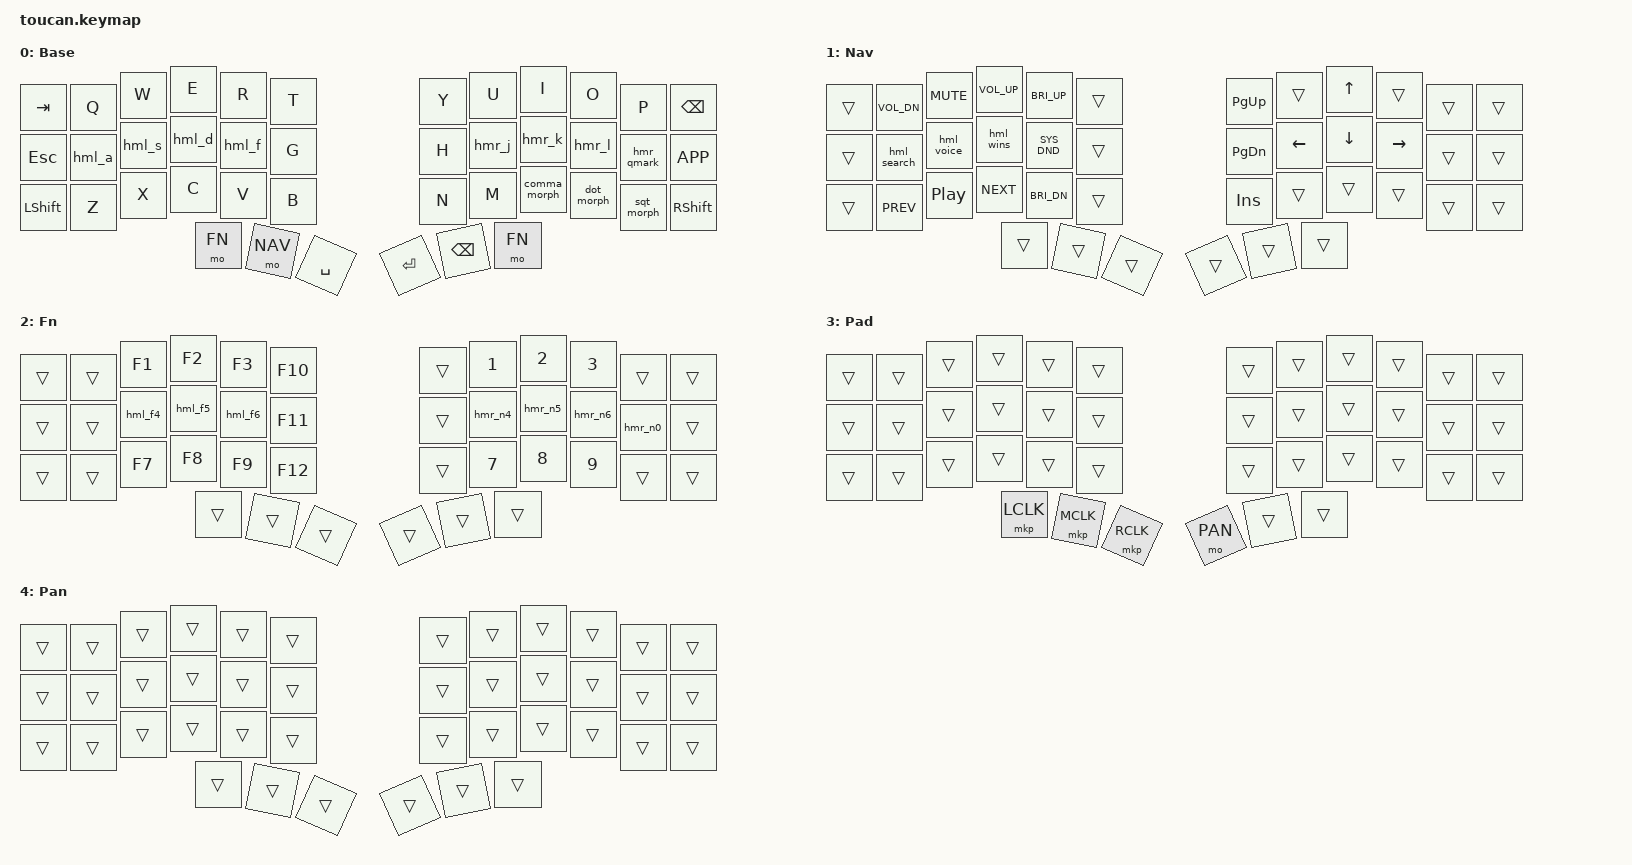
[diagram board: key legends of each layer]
#include <behaviors.dtsi>
#include <behaviors/toucan_text.dtsi>
#include <behaviors/unicode.dtsi>
#include <zmk-helpers/helper.h>
#include <zmk-helpers/key-labels/42.h>
#include <dt-bindings/zmk/keys.h>
#include <dt-bindings/zmk/bt.h>
#include <dt-bindings/zmk/outputs.h>
#include <dt-bindings/zmk/pointing.h>

#include "leader.dtsi"
#include "mouse.dtsi"

#define BASE  0
#define NAV   1
#define FN    2
#define PAD   3
#define PAN   4

#define XXX &none
#define ___ &trans

#define QUICK_TAP_MS 175

/* Key-position groups for hold-trigger-key-positions */
#define KEYS_L LT5 LT4 LT3 LT2 LT1 LT0  LM5 LM4 LM3 LM2 LM1 LM0  LB5 LB4 LB3 LB2 LB1 LB0
#define KEYS_R RT0 RT1 RT2 RT3 RT4 RT5  RM0 RM1 RM2 RM3 RM4 RM5  RB0 RB1 RB2 RB3 RB4 RB5
#define THUMBS LH2 LH1 LH0 RH0 RH1 RH2

/* The modifier keys of each homerow. Whitelisted as hold triggers for their own
   hand so two or more mods still chord together; every *other* same-hand key
   vetoes the hold, so a same-hand key never turns its neighbour into a mod. */
#define MODS_LH LM4 LM3 LM2 LM1
#define MODS_RH RM1 RM2 RM3 RM4

/* Unicode mode */
&uc {
    default-mode = <UC_MODE_MACOS>;
    minimum-length = <4>;
};

/* Timeless homerow mods.

   No hold-trigger-on-release: the positional veto has to run when the next key
   is *pressed*, not when it is released. With the release form, a homerow key
   held past its tapping term resolves to its modifier before any veto can run,
   which is how `hold D, press C` used to produce Cmd+C. Pressing any same-hand
   key that is not itself a homerow mod now forces the tap instead. */
#define MAKE_HRM(NAME, HOLD, TAP, TRIGGER_POS) \
    ZMK_HOLD_TAP(NAME, bindings = <HOLD>, <TAP>; flavor = "balanced"; \
        tapping-term-ms = <280>; quick-tap-ms = <QUICK_TAP_MS>; \
        require-prior-idle-ms = <200>; \
        hold-trigger-key-positions = <TRIGGER_POS>;)

MAKE_HRM(hml, &kp, &kp, KEYS_R THUMBS MODS_LH)  /* left-hand HRMs  */
MAKE_HRM(hmr, &kp, &kp, KEYS_L THUMBS MODS_RH)  /* right-hand HRMs */

// Generate dedicated HRMs for morphs
#define MAKE_HRM_MORPH(NAME, HOLD, MORPH, TRIGGER_POS) \
    ZMK_HOLD_TAP(NAME, bindings = <HOLD>, <MORPH>; flavor = "balanced"; \
        tapping-term-ms = <280>; quick-tap-ms = <QUICK_TAP_MS>; \
        require-prior-idle-ms = <200>; \
        hold-trigger-key-positions = <TRIGGER_POS>;)

MAKE_HRM_MORPH(hmr_comma_morph, &kp, &comma_morph, KEYS_L THUMBS MODS_RH)
MAKE_HRM_MORPH(hmr_dot_morph,   &kp, &dot_morph,   KEYS_L THUMBS MODS_RH)
MAKE_HRM_MORPH(hmr_qmark_morph, &kp, &qmark_morph, KEYS_L THUMBS MODS_RH)
MAKE_HRM_MORPH(hml_comma_morph, &kp, &comma_morph, KEYS_R THUMBS MODS_LH)
MAKE_HRM_MORPH(hml_dot_morph,   &kp, &dot_morph,   KEYS_R THUMBS MODS_LH)
MAKE_HRM_MORPH(hml_qmark_morph, &kp, &qmark_morph, KEYS_R THUMBS MODS_LH)

#define HMR_MORPH(MOD, TAP_BASE) &hmr_##TAP_BASE##_morph MOD 0
#define HML_MORPH(MOD, TAP_BASE) &hml_##TAP_BASE##_morph MOD 0

/* Paren mod-morphs: ( → < when shift held; ) → > when shift held */
#define SIMPLE_MORPH(NAME, MOD, BINDING1, BINDING2) \
    ZMK_MOD_MORPH(NAME, bindings = <BINDING1>, <BINDING2>; \
        mods = <(MOD_L##MOD|MOD_R##MOD)>;)

SIMPLE_MORPH(lpar_lt, SFT, &kp LPAR, &kp LT)
SIMPLE_MORPH(rpar_gt, SFT, &kp RPAR, &kp GT)

// Tap: comma | Shift + tap: semicolon
SIMPLE_MORPH(comma_morph, SFT, &kp COMMA, &kp SEMI)

// Tap: dot | Shift + tap: colon
SIMPLE_MORPH(dot_morph, SFT, &kp DOT, &kp COLON)

// Tap: single quote | Shift + tap: double quote
SIMPLE_MORPH(sqt_morph, SFT, &kp SQT, &kp DQT)

// Tap: qmark | Shift + tap: excl.
SIMPLE_MORPH(qmark_morph, SFT, &kp QMARK, &kp EXCL)

/* ── Order-sensitive homerow mods ────────────────────────────────────────────
   Modifiers pressed first define the chord; homerow keys pressed *afterwards*
   on the opposite hand must type normally, even when held down (a bare held
   HRM otherwise resolves to its modifier once the tapping term expires —
   hold-trigger-key-positions cannot express "only ever hold positionally").

   Each HRM is wrapped in a mod-morph keyed on the *other* hand's modifiers:
   while those are held the key is a plain tap, so hold LCTRL+LALT then hold J
   gives CTRL+ALT+j (repeating), not CTRL+ALT+RSHIFT. Same-hand chords are
   unaffected — a left HRM never morphs on left mods — so two or more mods on
   one homerow still chord normally. keep-mods retains the triggering mods in
   the HID report. Left HRMs emit L* mods and right HRMs R*, which is what
   makes the two hands distinguishable here. */
#define MODS_LEFT  (MOD_LCTL|MOD_LSFT|MOD_LALT|MOD_LGUI)
#define MODS_RIGHT (MOD_RCTL|MOD_RSFT|MOD_RALT|MOD_RGUI)

#define HRM_L(NAME, MOD, TAP) \
    ZMK_MOD_MORPH(NAME, bindings = <&hml MOD TAP>, <&kp TAP>; \
        mods = <MODS_RIGHT>; keep-mods = <MODS_RIGHT>;)
#define HRM_R(NAME, MOD, TAP) \
    ZMK_MOD_MORPH(NAME, bindings = <&hmr MOD TAP>, <&kp TAP>; \
        mods = <MODS_LEFT>; keep-mods = <MODS_LEFT>;)

/* BASE */
HRM_L(hml_a, LCTRL, A)
HRM_L(hml_s, LALT,  S)
HRM_L(hml_d, LGUI,  D)
HRM_L(hml_f, LSHFT, F)
HRM_R(hmr_j, RSHFT, J)
HRM_R(hmr_k, RGUI,  K)
HRM_R(hmr_l, RALT,  L)
ZMK_MOD_MORPH(hmr_qmark, bindings = <&hmr_qmark_morph RCTRL 0>, <&qmark_morph>;
    mods = <MODS_LEFT>; keep-mods = <MODS_LEFT>;)

/* NAV — left-hand HRMs only. The arrows (right hand) are plain &kp so a long
   press repeats instead of resolving to a modifier; modifiers on this layer come
   from the left hand (CTRL/ALT/GUI on the homerow, SHIFT on the bottom-row pinky
   which is transparent to BASE's LSHFT). */
HRM_L(hml_search, LCTRL, C_AC_SEARCH)
HRM_L(hml_voice,  LALT,  C_VOICE_COMMAND)
HRM_L(hml_wins,   LGUI,  C_AC_DESKTOP_SHOW_ALL_WINDOWS)

/* FN */
HRM_L(hml_f4, LALT,  F4)
HRM_L(hml_f5, LGUI,  F5)
HRM_L(hml_f6, LSHFT, F6)
HRM_R(hmr_n4, RSHFT, N4)
HRM_R(hmr_n5, RGUI,  N5)
HRM_R(hmr_n6, RALT,  N6)
HRM_R(hmr_n0, RCTRL, N0)


/* Namespace macros: trigger &leader then send the namespace key so leader
   dispatches the subsequent letter to the right sequence group. */
/ {
    behaviors {
        greek_ns: greek_namespace {
            compatible = "zmk,behavior-macro";
            #binding-cells = <0>;
            wait-ms = <30>;
            tap-ms = <5>;
            bindings = <&leader>, <&kp L>;
        };
        german_ns: german_namespace {
            compatible = "zmk,behavior-macro";
            #binding-cells = <0>;
            wait-ms = <30>;
            tap-ms = <5>;
            bindings = <&leader>, <&kp E>;
        };
        sys_ns: sys_namespace {
            compatible = "zmk,behavior-macro";
            #binding-cells = <0>;
            wait-ms = <30>;
            tap-ms = <5>;
            bindings = <&leader>, <&kp N>;
        };
    };
};

#include "combos.dtsi"

/* ── Layers ──────────────────────────────────────────────────────────────── */

ZMK_LAYER(Base,
// ╭───────────┬───────────┬───────────┬───────────┬───────────┬───────────╮ ╭───────────┬───────────┬───────────┬───────────┬───────────┬───────────╮
    &kp TAB     &kp Q       &kp W       &kp E       &kp R       &kp T          &kp Y       &kp U       &kp I       &kp O       &kp P      &kp BSPC
// ├───────────┼───────────┼───────────┼───────────┼───────────┼───────────┤ ├───────────┼───────────┼───────────┼───────────┼───────────┼───────────┤
    &kp ESC     &hml_a      &hml_s      &hml_d      &hml_f      &kp G          &kp H       &hmr_j      &hmr_k      &hmr_l      &hmr_qmark  &kp K_APP
// ├───────────┼───────────┼───────────┼───────────┼───────────┼───────────┤ ├───────────┼───────────┼───────────┼───────────┼───────────┼───────────┤
    &kp LSHFT   &kp Z       &kp X       &kp C       &kp V       &kp B          &kp N       &kp M       &comma_morph   &dot_morph     &sqt_morph    &kp RSHFT
// ╰───────────┴───────────┴───────────┼───────────┼───────────┼───────────┤ ├───────────┼───────────┼───────────┼───────────┴───────────┴───────────╯
                                        &mo FN      &mo NAV     &kp SPACE      &kp RET     &kp BSPC    &mo FN
//                                     ╰───────────┴───────────┴───────────╯ ╰───────────┴───────────┴───────────╯
)

ZMK_LAYER(Nav,
// ╭───────────┬───────────┬───────────┬───────────┬───────────┬───────────╮ ╭───────────┬───────────┬───────────┬───────────┬───────────┬───────────╮
    ___          &kp C_VOL_DN &kp C_MUTE &kp C_VOL_UP &kp C_BRI_UP   ___       &kp PG_UP   ___         &kp UP      ___         ___         ___
// ├───────────┼───────────┼───────────┼───────────┼───────────┼───────────┤ ├───────────┼───────────┼───────────┼───────────┼───────────┼───────────┤
    ___         &hml_search &hml_voice  &hml_wins   &kp SYS_DND     ___        &kp PG_DN   &kp LEFT    &kp DOWN    &kp RIGHT   ___         ___
// ├───────────┼───────────┼───────────┼───────────┼───────────┼───────────┤ ├───────────┼───────────┼───────────┼───────────┼───────────┼───────────┤
    ___          &kp C_PREV  &kp C_PP    &kp C_NEXT  &kp C_BRI_DN    ___       &kp INS     ___         ___         ___         ___         ___
// ╰───────────┴───────────┴───────────┼───────────┼───────────┼───────────┤ ├───────────┼───────────┼───────────┼───────────┴───────────┴───────────╯
                                        ___         ___         ___            ___         ___         ___
//                                     ╰───────────┴───────────┴───────────╯ ╰───────────┴───────────┴───────────╯
)

ZMK_LAYER(Fn,
// ╭───────────┬───────────┬───────────┬───────────┬───────────┬───────────╮ ╭───────────┬───────────┬───────────┬───────────┬───────────┬───────────╮
    ___         ___          &kp F1      &kp F2      &kp F3      &kp F10       ___         &kp N1      &kp N2      &kp N3      ___            ___
// ├───────────┼───────────┼───────────┼───────────┼───────────┼───────────┤ ├───────────┼───────────┼───────────┼───────────┼───────────┼───────────┤
    ___         ___         &hml_f4     &hml_f5     &hml_f6     &kp F11        ___         &hmr_n4     &hmr_n5     &hmr_n6     &hmr_n0     ___
// ├───────────┼───────────┼───────────┼───────────┼───────────┼───────────┤ ├───────────┼───────────┼───────────┼───────────┼───────────┼───────────┤
    ___         ___          &kp F7      &kp F8      &kp F9      &kp F12       ___         &kp N7      &kp N8      &kp N9      ___            ___
// ╰───────────┴───────────┴───────────┼───────────┼───────────┼───────────┤ ├───────────┼───────────┼───────────┼───────────┴───────────┴───────────╯
                                        ___         ___         ___           ___         ___         ___
//                                     ╰───────────┴───────────┴───────────╯ ╰───────────┴───────────┴───────────╯
)

/* PAD layer — activated by BTN_TOUCH from touchpad driver (mo 5) */
ZMK_LAYER(Pad,
// ╭───────────┬───────────┬───────────┬───────────┬───────────┬───────────╮ ╭───────────┬───────────┬───────────┬───────────┬───────────┬───────────╮
    ___         ___         ___         ___         ___         ___             ___         ___         ___         ___         ___         ___
// ├───────────┼───────────┼───────────┼───────────┼───────────┼───────────┤ ├───────────┼───────────┼───────────┼───────────┼───────────┼───────────┤
    ___         ___         ___         ___         ___         ___             ___         ___         ___         ___         ___         ___
// ├───────────┼───────────┼───────────┼───────────┼───────────┼───────────┤ ├───────────┼───────────┼───────────┼───────────┼───────────┼───────────┤
    ___         ___         ___         ___         ___         ___             ___         ___         ___         ___         ___         ___
// ╰───────────┴───────────┴───────────┼───────────┼───────────┼───────────┤ ├───────────┼───────────┼───────────┼───────────┴───────────┴───────────╯
                                        &mkp LCLK   &mkp MCLK   &mkp RCLK       &mo PAN     ___         ___
//                                     ╰───────────┴───────────┴───────────╯ ╰───────────┴───────────┴───────────╯
)

/* PAN layer — held from PAD K; input-listener layer override maps XY → scroll */
ZMK_LAYER(Pan,
// ╭───────────┬───────────┬───────────┬───────────┬───────────┬───────────╮ ╭───────────┬───────────┬───────────┬───────────┬───────────┬───────────╮
    ___         ___         ___         ___         ___         ___             ___         ___         ___         ___         ___         ___
// ├───────────┼───────────┼───────────┼───────────┼───────────┼───────────┤ ├───────────┼───────────┼───────────┼───────────┼───────────┼───────────┤
    ___         ___         ___         ___         ___         ___             ___         ___         ___         ___         ___         ___
// ├───────────┼───────────┼───────────┼───────────┼───────────┼───────────┤ ├───────────┼───────────┼───────────┼───────────┼───────────┼───────────┤
    ___         ___         ___         ___         ___         ___             ___         ___         ___         ___         ___         ___
// ╰───────────┴───────────┴───────────┼───────────┼───────────┼───────────┤ ├───────────┼───────────┼───────────┼───────────┴───────────┴───────────╯
                                        ___         ___         ___             ___         ___         ___
//                                     ╰───────────┴───────────┴───────────╯ ╰───────────┴───────────┴───────────╯
)
